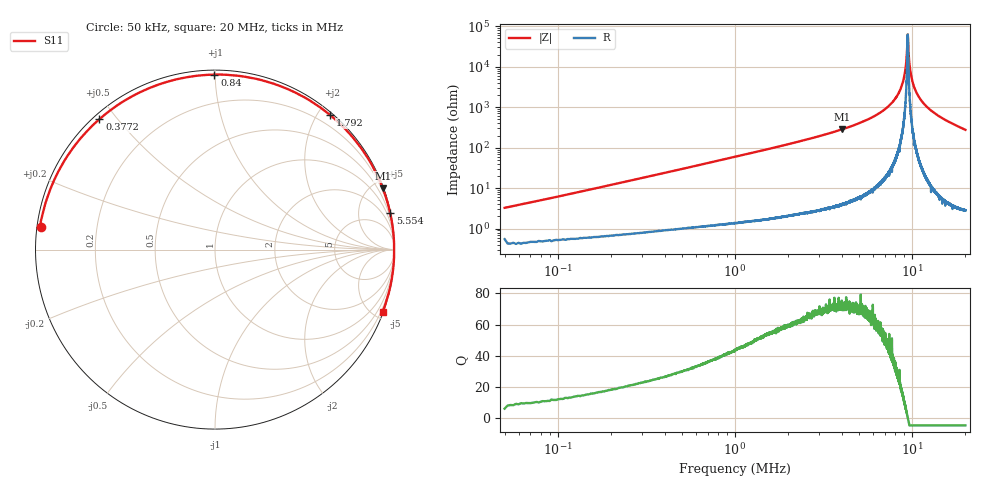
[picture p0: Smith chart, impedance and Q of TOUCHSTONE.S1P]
!Keysight Technologies,E5063A,MY54100949,A.07.30
!Date: Wed Nov 26 00:07:19 2025
!Data & Calibration Information:
!Freq	S11:SOLT1(ON)
# Hz S RI R 50
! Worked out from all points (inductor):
!   10001 points, 50 kHz to 20 MHz, reference 50 ohm
!   read as one part to ground: L = 9.58 uH near 149.8 kHz
!   highest Q = 73.1 at 4.01 MHz (marker M1), where L = 11.2 uH
!   self-resonance near 9.454 MHz
!   S11 on the Smith chart (normalised r, x): 50 kHz: 0.01, +0.06; 377.2 kHz: 0.02, +0.45; 840 kHz: 0.03, +1.00; 1.792 MHz: 0.04, +2.17; 5.554 MHz: 0.15, +9.72; 20 MHz: 0.06, -5.54
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50000  -0.9702 0.1255
111845  -0.9427 0.2643
191645  -0.8761 0.429
285410  -0.7691 0.5957
377180  -0.6441 0.727
478925  -0.4958 0.8347
588650  -0.3343 0.9123
708350  -0.1679 0.9585
840020  -0.00342 0.9751
941765  0.1083 0.9705
1047500  0.2114 0.9555
1157225  0.3039 0.9317
1268945  0.3855 0.9025
1388645  0.4604 0.8685
1514330  0.5275 0.8313
1791635  0.6413 0.7499
2136770  0.7386 0.6578
2543750  0.814 0.5654
3178160  0.8847 0.4516
4010075  0.9349 0.3414
5037500  0.9665 0.2427
5554205  0.9761 0.2029
7531250  0.9943 0.0853
1.0025e7  0.9982 -0.0223
1.251875e7  0.9923 -0.1107
1.50125e7  0.9796 -0.1912
1.750625e7  0.9604 -0.2694
2e7  0.9335 -0.3485
